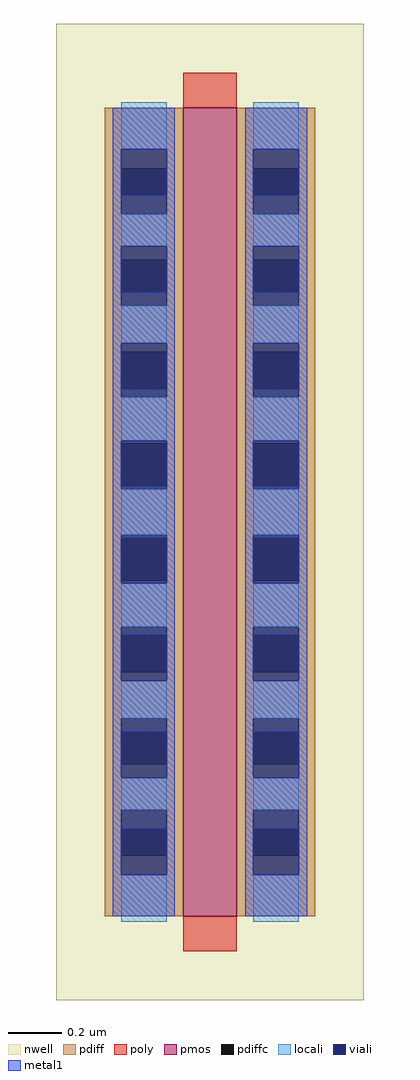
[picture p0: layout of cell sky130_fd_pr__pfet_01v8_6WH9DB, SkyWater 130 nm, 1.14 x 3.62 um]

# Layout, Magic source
magic
tech sky130A
magscale 1 2
<< nwell >>
rect -114 -362 114 362
<< pmos >>
rect -20 -300 20 300
<< pdiff >>
rect -78 255 -20 300
rect -78 221 -66 255
rect -32 221 -20 255
rect -78 187 -20 221
rect -78 153 -66 187
rect -32 153 -20 187
rect -78 119 -20 153
rect -78 85 -66 119
rect -32 85 -20 119
rect -78 51 -20 85
rect -78 17 -66 51
rect -32 17 -20 51
rect -78 -17 -20 17
rect -78 -51 -66 -17
rect -32 -51 -20 -17
rect -78 -85 -20 -51
rect -78 -119 -66 -85
rect -32 -119 -20 -85
rect -78 -153 -20 -119
rect -78 -187 -66 -153
rect -32 -187 -20 -153
rect -78 -221 -20 -187
rect -78 -255 -66 -221
rect -32 -255 -20 -221
rect -78 -300 -20 -255
rect 20 255 78 300
rect 20 221 32 255
rect 66 221 78 255
rect 20 187 78 221
rect 20 153 32 187
rect 66 153 78 187
rect 20 119 78 153
rect 20 85 32 119
rect 66 85 78 119
rect 20 51 78 85
rect 20 17 32 51
rect 66 17 78 51
rect 20 -17 78 17
rect 20 -51 32 -17
rect 66 -51 78 -17
rect 20 -85 78 -51
rect 20 -119 32 -85
rect 66 -119 78 -85
rect 20 -153 78 -119
rect 20 -187 32 -153
rect 66 -187 78 -153
rect 20 -221 78 -187
rect 20 -255 32 -221
rect 66 -255 78 -221
rect 20 -300 78 -255
<< pdiffc >>
rect -66 221 -32 255
rect -66 153 -32 187
rect -66 85 -32 119
rect -66 17 -32 51
rect -66 -51 -32 -17
rect -66 -119 -32 -85
rect -66 -187 -32 -153
rect -66 -255 -32 -221
rect 32 221 66 255
rect 32 153 66 187
rect 32 85 66 119
rect 32 17 66 51
rect 32 -51 66 -17
rect 32 -119 66 -85
rect 32 -187 66 -153
rect 32 -255 66 -221
<< poly >>
rect -20 300 20 326
rect -20 -326 20 -300
<< locali >>
rect -66 269 -32 304
rect -66 197 -32 221
rect -66 125 -32 153
rect -66 53 -32 85
rect -66 -17 -32 17
rect -66 -85 -32 -53
rect -66 -153 -32 -125
rect -66 -221 -32 -197
rect -66 -304 -32 -269
rect 32 269 66 304
rect 32 197 66 221
rect 32 125 66 153
rect 32 53 66 85
rect 32 -17 66 17
rect 32 -85 66 -53
rect 32 -153 66 -125
rect 32 -221 66 -197
rect 32 -304 66 -269
<< viali >>
rect -66 255 -32 269
rect -66 235 -32 255
rect -66 187 -32 197
rect -66 163 -32 187
rect -66 119 -32 125
rect -66 91 -32 119
rect -66 51 -32 53
rect -66 19 -32 51
rect -66 -51 -32 -19
rect -66 -53 -32 -51
rect -66 -119 -32 -91
rect -66 -125 -32 -119
rect -66 -187 -32 -163
rect -66 -197 -32 -187
rect -66 -255 -32 -235
rect -66 -269 -32 -255
rect 32 255 66 269
rect 32 235 66 255
rect 32 187 66 197
rect 32 163 66 187
rect 32 119 66 125
rect 32 91 66 119
rect 32 51 66 53
rect 32 19 66 51
rect 32 -51 66 -19
rect 32 -53 66 -51
rect 32 -119 66 -91
rect 32 -125 66 -119
rect 32 -187 66 -163
rect 32 -197 66 -187
rect 32 -255 66 -235
rect 32 -269 66 -255
<< metal1 >>
rect -72 269 -26 300
rect -72 235 -66 269
rect -32 235 -26 269
rect -72 197 -26 235
rect -72 163 -66 197
rect -32 163 -26 197
rect -72 125 -26 163
rect -72 91 -66 125
rect -32 91 -26 125
rect -72 53 -26 91
rect -72 19 -66 53
rect -32 19 -26 53
rect -72 -19 -26 19
rect -72 -53 -66 -19
rect -32 -53 -26 -19
rect -72 -91 -26 -53
rect -72 -125 -66 -91
rect -32 -125 -26 -91
rect -72 -163 -26 -125
rect -72 -197 -66 -163
rect -32 -197 -26 -163
rect -72 -235 -26 -197
rect -72 -269 -66 -235
rect -32 -269 -26 -235
rect -72 -300 -26 -269
rect 26 269 72 300
rect 26 235 32 269
rect 66 235 72 269
rect 26 197 72 235
rect 26 163 32 197
rect 66 163 72 197
rect 26 125 72 163
rect 26 91 32 125
rect 66 91 72 125
rect 26 53 72 91
rect 26 19 32 53
rect 66 19 72 53
rect 26 -19 72 19
rect 26 -53 32 -19
rect 66 -53 72 -19
rect 26 -91 72 -53
rect 26 -125 32 -91
rect 66 -125 72 -91
rect 26 -163 72 -125
rect 26 -197 32 -163
rect 66 -197 72 -163
rect 26 -235 72 -197
rect 26 -269 32 -235
rect 66 -269 72 -235
rect 26 -300 72 -269
<< end >>
